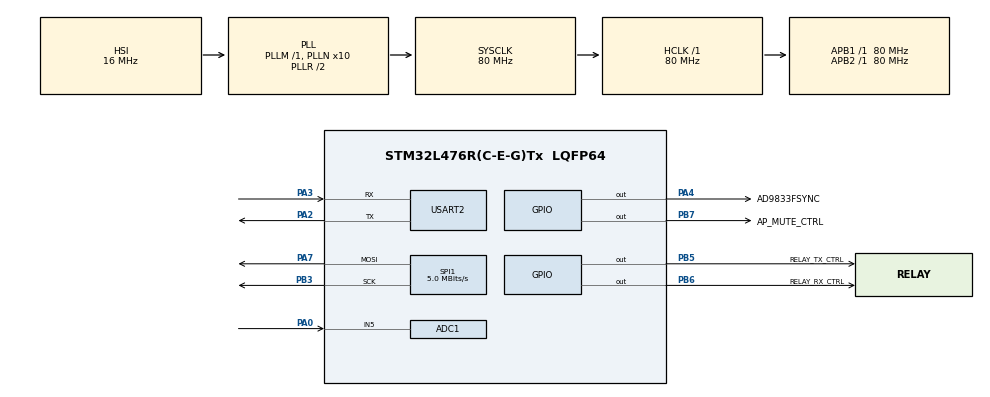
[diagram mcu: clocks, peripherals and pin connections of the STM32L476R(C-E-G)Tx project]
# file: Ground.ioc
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ADC1.Channel-1\#ChannelRegularConversion=ADC_CHANNEL_5
ADC1.DMAContinuousRequests=ENABLE
ADC1.ExternalTrigConv=ADC_EXTERNALTRIG_T2_TRGO
ADC1.NbrOfConversionFlag=1
ADC1.OffsetNumber-1\#ChannelRegularConversion=ADC_OFFSET_NONE
ADC1.Rank-1\#ChannelRegularConversion=1
ADC1.SamplingTime-1\#ChannelRegularConversion=ADC_SAMPLETIME_2CYCLES_5
ADC1.master=1
Dma.ADC1.0.Direction=DMA_PERIPH_TO_MEMORY
Dma.ADC1.0.Instance=DMA1_Channel1
Dma.ADC1.0.MemDataAlignment=DMA_MDATAALIGN_HALFWORD
Dma.ADC1.0.MemInc=DMA_MINC_ENABLE
Dma.ADC1.0.Mode=DMA_NORMAL
Dma.ADC1.0.PeriphDataAlignment=DMA_PDATAALIGN_HALFWORD
Dma.ADC1.0.PeriphInc=DMA_PINC_DISABLE
Dma.ADC1.0.Priority=DMA_PRIORITY_LOW
Dma.Request0=ADC1
Mcu.Family=STM32L4
Mcu.Name=STM32L476R(C-E-G)Tx
Mcu.Package=LQFP64
NVIC.DMA1_Channel1_IRQn=true\:0\:0\:false\:false\:true\:false\:true\:true
NVIC.PriorityGroup=NVIC_PRIORITYGROUP_4
NVIC.TIM3_IRQn=true\:0\:0\:false\:false\:true\:true\:true\:true
NVIC.USART2_IRQn=true\:0\:0\:false\:false\:true\:true\:true\:true
PA0.Signal=ADCx_IN5
PA13\ (JTMS-SWDIO).Mode=Serial_Wire
PA13\ (JTMS-SWDIO).Signal=SYS_JTMS-SWDIO
PA14\ (JTCK-SWCLK).Mode=Serial_Wire
PA14\ (JTCK-SWCLK).Signal=SYS_JTCK-SWCLK
PA2.Mode=Asynchronous
PA2.Signal=USART2_TX
PA3.Mode=Asynchronous
PA3.Signal=USART2_RX
PA4.GPIO_Label=AD9833FSYNC
PA4.GPIO_Speed=GPIO_SPEED_FREQ_HIGH
PA4.PinState=GPIO_PIN_SET
PA4.Signal=GPIO_Output
PA7.Mode=TX_Only_Simplex_Unidirect_Master
PA7.Signal=SPI1_MOSI
PB3\ (JTDO-TRACESWO).Mode=TX_Only_Simplex_Unidirect_Master
PB3\ (JTDO-TRACESWO).Signal=SPI1_SCK
PB5.GPIO_Label=RELAY_TX_CTRL
PB5.Signal=GPIO_Output
PB6.GPIO_Label=RELAY_RX_CTRL
PB6.Signal=GPIO_Output
PB7.GPIO_Label=AP_MUTE_CTRL
PB7.PinState=GPIO_PIN_SET
PB7.Signal=GPIO_Output
ProjectManager.HeapSize=0x2000
ProjectManager.StackSize=0x2000
ProjectManager.TargetToolchain=MDK-ARM V5.27
RCC.ADCFreq_Value=64000000
RCC.AHBFreq_Value=80000000
RCC.APB1Freq_Value=80000000
RCC.APB1TimFreq_Value=80000000
RCC.APB2Freq_Value=80000000
RCC.APB2TimFreq_Value=80000000
RCC.CortexFreq_Value=80000000
RCC.HCLKFreq_Value=80000000
RCC.HSE_VALUE=8000000
RCC.HSI_VALUE=16000000
RCC.LSE_VALUE=32768
RCC.MSI_VALUE=4000000
RCC.PLLN=10
RCC.PLLR=2
RCC.PLLSourceVirtual=RCC_PLLSOURCE_HSI
RCC.PREFETCH_ENABLE=1
RCC.SYSCLKFreq_VALUE=80000000
RCC.SYSCLKSource=RCC_SYSCLKSOURCE_PLLCLK
RCC.USBFreq_Value=64000000
RCC.VCOOutputFreq_Value=160000000
SH.ADCx_IN5.0=ADC1_IN5,IN5-Single-Ended
SPI1.BaudRatePrescaler=SPI_BAUDRATEPRESCALER_16
SPI1.CLKPolarity=SPI_POLARITY_HIGH
SPI1.CalculateBaudRate=5.0 MBits/s
SPI1.DataSize=SPI_DATASIZE_16BIT
SPI1.Direction=SPI_DIRECTION_2LINES
SPI1.Mode=SPI_MODE_MASTER
SPI1.VirtualType=VM_MASTER
STMicroelectronics.X-CUBE-AI.10.2.0.ActivationBufferSizeList=84116
STMicroelectronics.X-CUBE-AI.10.2.0.ActivationBuffers=pool0
STMicroelectronics.X-CUBE-AI.10.2.0.ActivationNames=pool0
STMicroelectronics.X-CUBE-AI.10.2.0.ActivationSizes=AI_NETWORK_1_DATA_ACTIVATION_1_SIZE
STMicroelectronics.X-CUBE-AI.10.2.0.HeapSize=0x2000
STMicroelectronics.X-CUBE-AI.10.2.0.InternalRamActivationBufferMaxSize=AI_NETWORK_1_DATA_ACTIVATIONS_SIZE
STMicroelectronics.X-CUBE-AI.10.2.0.LatestDirectoryUsed-c0d16df168d22022be63defcd9235e973b0978d8dd073e447b1b100edbf40b99=D\:\\python\\project\\7
STMicroelectronics.X-CUBE-AI.10.2.0.MaximumNumberOfInputLayer=1
STMicroelectronics.X-CUBE-AI.10.2.0.MaximumNumberOfOutputLayer=1
STMicroelectronics.X-CUBE-AI.10.2.0.MaximumSizeOfInputLayer=1
STMicroelectronics.X-CUBE-AI.10.2.0.MaximumSizeOfOutputLayer=1,1
STMicroelectronics.X-CUBE-AI.10.2.0.ModelActualCompression-c0d16df168d22022be63defcd9235e973b0978d8dd073e447b1b100edbf40b99=0.0
STMicroelectronics.X-CUBE-AI.10.2.0.ModelCompression-c0d16df168d22022be63defcd9235e973b0978d8dd073e447b1b100edbf40b99=High
STMicroelectronics.X-CUBE-AI.10.2.0.ModelFlashOccupation-c0d16df168d22022be63defcd9235e973b0978d8dd073e447b1b100edbf40b99=87096
STMicroelectronics.X-CUBE-AI.10.2.0.ModelHashList=c0d16df168d22022be63defcd9235e973b0978d8dd073e447b1b100edbf40b99
STMicroelectronics.X-CUBE-AI.10.2.0.ModelKind-c0d16df168d22022be63defcd9235e973b0978d8dd073e447b1b100edbf40b99=ONNX
STMicroelectronics.X-CUBE-AI.10.2.0.ModelMacc-c0d16df168d22022be63defcd9235e973b0978d8dd073e447b1b100edbf40b99=1577754
STMicroelectronics.X-CUBE-AI.10.2.0.ModelName-68c1fa1d3f161773a2b75655d76ecb105ef6672890e4a9a5a3e9edc10a31fa53=network
STMicroelectronics.X-CUBE-AI.10.2.0.ModelName-c0d16df168d22022be63defcd9235e973b0978d8dd073e447b1b100edbf40b99=network_1
STMicroelectronics.X-CUBE-AI.10.2.0.ModelNameList=network_1
STMicroelectronics.X-CUBE-AI.10.2.0.ModelRamOccupation-c0d16df168d22022be63defcd9235e973b0978d8dd073e447b1b100edbf40b99=84116
STMicroelectronics.X-CUBE-AI.10.2.0.ModelStructureFile-c0d16df168d22022be63defcd9235e973b0978d8dd073e447b1b100edbf40b99=D\:\\python\\project\\7\\clean_PerChannel_quant_v7_calib_input_only_npz_1.onnx
STMicroelectronics.X-CUBE-AI.10.2.0.ModelType-c0d16df168d22022be63defcd9235e973b0978d8dd073e447b1b100edbf40b99=STM32Cube.AI MCU runtime
STMicroelectronics.X-CUBE-AI.10.2.0.ReadyForCodeGeneration=true
STMicroelectronics.X-CUBE-AI.10.2.0.StackSize=0x2000
STMicroelectronics.X-CUBE-AI.10.2.0.ValidationInputFile-c0d16df168d22022be63defcd9235e973b0978d8dd073e447b1b100edbf40b99=D\:\\python\\project\\7\\v7_calib_input_only.npz
STMicroelectronics.X-CUBE-AI.10.2.0.ValidationInputFileHistory-c0d16df168d22022be63defcd9235e973b0978d8dd073e447b1b100edbf40b99=D\:\\python\\project\\7\\v7_calib_input_only.npz
STMicroelectronics.X-CUBE-AI.10.2.0.WorkingBufferStartAddrList=0xFFFFFFFF
STMicroelectronics.X-CUBE-AI.10.2.0.XAaCUBEAaAICcArtificialOoIntelligenceJjCore=true
STMicroelectronics.X-CUBE-AI.10.2.0.copyWeightToRam=false
STMicroelectronics.X-CUBE-AI.10.2.0.customLayerConfigEnabled=false
STMicroelectronics.X-CUBE-AI.10.2.0.noOnnxIoTranspose=false
STMicroelectronics.X-CUBE-AI.10.2.0.optimization=ram
STMicroelectronics.X-CUBE-AI.10.2.0.useInputAllocation=true
STMicroelectronics.X-CUBE-AI.10.2.0.useOutputAllocation=true
TIM2.AutoReloadPreload=TIM_AUTORELOAD_PRELOAD_ENABLE
TIM2.Period=832
TIM2.Prescaler=79
TIM2.TIM_MasterOutputTrigger=TIM_TRGO_UPDATE
TIM3.AutoReloadPreload=TIM_AUTORELOAD_PRELOAD_ENABLE
TIM3.Period=199
TIM3.Prescaler=7999
USART2.VirtualMode-Asynchronous=VM_ASYNC
VP_STMicroelectronics.X-CUBE-AI_VS_ArtificialOoIntelligenceJjXAaCUBEAaAI_10.2.0.Mode=ArtificialOoIntelligenceJjXAaCUBEAaAI
VP_TIM2_VS_ClockSourceINT.Mode=Internal
VP_TIM3_VS_ClockSourceINT.Mode=Internal
board=custom

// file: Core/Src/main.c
/* USER CODE BEGIN Header */
/**
  ******************************************************************************
  * @file           : main.c
  * @brief          : 井下通信系统 - 井上主控站 (Ground Node, V7 INT8)
  * @note           :
  * 1) AI 模型为 INT8 量化 TCN，输入 960 点，输出 boundary/frame 两路序列。
  * 2) 协议为 32bit：sync(8)+dest(4)+src(4)+payload(16)，同步头固定 0xB6。
  * 3) 载荷定义为 payload16=[temp8|pres8]；保留下行命令帧发送接口。
  ******************************************************************************
  */
/* USER CODE END Header */
#include "main.h"
#include "adc.h"
#include "dma.h"
#include "spi.h"
#include "tim.h"
#include "usart.h"
#include "gpio.h"

/* USER CODE BEGIN Includes */
#include <string.h>
#include <stdio.h>
#include <math.h>
// 仅允许使用 CMSIS-DSP，未启用时直接报错
#ifndef USE_CMSIS_DSP
  #error "CMSIS-DSP not enabled: please define USE_CMSIS_DSP=1 in project macros."
#endif
#ifndef ARM_MATH_CM4
#define ARM_MATH_CM4
#endif
#include "arm_math.h"
#include "ad9833.h"
#include "network_1.h"
#include "network_1_data.h"
#include "relay_control.h"
#include "test_sample_frame.h"
/* USER CODE END Includes */

/* USER CODE BEGIN PTD */
typedef enum {
    STATE_LISTENING,   // 监听态：等待井下回传
    STATE_INFERENCING, // 推理态：执行 AI 解调
    STATE_TRANSMITTING // 发送态：下发控制指令
} SystemState_t;
/* USER CODE END PTD */

/* USER CODE BEGIN PD */
// 井上节点主要是被动接收和主动下发，不需要自动循环定时器
/* USER CODE END PD */

/* USER CODE BEGIN PV */
SystemState_t current_state = STATE_LISTENING;

// 记录串口命令（主循环执行）
uint8_t pending_cmd = 0;
static uint8_t replay_once = 0;

// 核心控制实例化
volatile AI_Demod_Ctrl_t demodCtrl = {0};
volatile Modulate_Ctrl_t modCtrl = {0};

uint16_t adc_dma_buffer[FRAME_SAMPLES];
AI_ALIGNED(4) static ai_u8 activations[AI_NETWORK_1_DATA_ACTIVATIONS_SIZE];
static ai_handle network = AI_HANDLE_NULL;

// INT8 量化输入/输出缓冲区
int8_t ai_in_buffer[FRAME_SAMPLES];
int8_t ai_out_boundary[AI_NETWORK_1_OUT_1_SIZE];
int8_t ai_out_frame[AI_NETWORK_1_OUT_2_SIZE];
/* USER CODE END PV */

void SystemClock_Config(void);

/* USER CODE BEGIN 0 */

// ====================================================================
// AI 量化与后处理参数（必须与当前 X-CUBE-AI 生成模型严格一致）
// 说明：
// - AI_INPUT_SCALE / AI_INPUT_ZP 来自 network_1.c 的 input intq
// - AI_FRAME_ZP 来自 frame 输出张量 intq（用于 bit 判决阈值）
// - 这些参数更新后，Ground/Underground 需保持一致
// ====================================================================
#define AI_INPUT_SCALE        (0.04223548248410225f) // input scale
#define AI_INPUT_ZP           (3)                    // input zero-point
#define AI_NORM_EPS           (1.0e-5f)              // z-norm 防除零
#define AI_FRAME_ZP           (-14)                  // frame 输出零点（bit判决基准）
#define AI_STRIDE             (3)                    // 前端池化步长
#define AI_LATENT_SAMPLES     (256)                  // 32bit*24/3
#define AI_LATENT_SPB         (8)                    // 24/3
#define AI_BOUNDARY_TOP_K     (3)                    // 边界候选数
#define AI_BOUNDARY_AMBIGUOUS_THRESHOLD  (4)         // Top1/Top2 模糊阈值
#define INFER_TIMEOUT_MS      (300)                  // 推理超时保护
#define SYNC_MAX_ERR          (0)                    // 同步头最大允许错误位数
#define SYNC_SHIFT_RANGE      (8)                    // 起点细修搜索范围：[-4,+4]
#define AI_REPLAY_MODE        (1)                    // 0: 实采样  1: 回放测试

static float32_t adc_f32_buf[FRAME_SAMPLES];

// ====================================================================
// AI 帧输出判决函数（工业化稳健版）
// 说明：
// - 对每 bit 的 8 个 latent 采样点做加权积分，抑制单点噪声和相位抖动。
// - 判决阈值在量化域与 zero-point 对齐，避免浮点反量化开销。
// ====================================================================
static inline uint8_t DecodeFrameBitWeighted(const int8_t* frame, int base)
{
    // 权重窗口: [1,2,2,2,2,2,2,1]，总权重 14
    int32_t acc = 0;
    acc += 1 * frame[base + 0];
    acc += 2 * frame[base + 1];
    acc += 2 * frame[base + 2];
    acc += 2 * frame[base + 3];
    acc += 2 * frame[base + 4];
    acc += 2 * frame[base + 5];
    acc += 2 * frame[base + 6];
    acc += 1 * frame[base + 7];

    const int32_t th = 14 * (int32_t)AI_FRAME_ZP;
    return (acc > th) ? 1U : 0U;
}

// ====================================================================
// 串口打印重定向（用于上位机显示）
// ====================================================================
int fputc(int ch, FILE *f) {
    extern UART_HandleTypeDef huart2;
    HAL_UART_Transmit(&huart2, (uint8_t *)&ch, 1, HAL_MAX_DELAY);
    return ch;
}

/**
  * @brief  下行指令帧组包（地面端 -> 井下端）
  */
void BuildTxFrame(uint8_t destAddr, uint8_t srcAddr, uint32_t payloadData) {
    // 32bit 短帧：sync(8)=0xB6 | dest(4) | src(4) | payload(16)
    uint16_t payload16 = (uint16_t)(payloadData & 0xFFFF);
    modCtrl.txFrame = 0U;
    modCtrl.txFrame |= ((uint32_t)0xB6U << 24);
    modCtrl.txFrame |= (((uint32_t)destAddr & 0x0FU) << 20);
    modCtrl.txFrame |= (((uint32_t)srcAddr  & 0x0FU) << 16);
    modCtrl.txFrame |= (uint32_t)payload16;
}

// 下行指令触发接口（可在串口接收中断中调用）
void Send_Command_To_Underground(uint8_t cmd) {
    // 仅允许在监听态发命令，避免打断推理流程
    if (current_state != STATE_LISTENING) {
        return;
    }
    // 若当前仍在发送上一帧，则直接丢弃本次请求，避免重入
    if (modCtrl.isTransmitting) {
        return;
    }

    BuildTxFrame(ADDR_UNDERGROUND, LOCAL_ADDRESS, (uint32_t)cmd);

    // 打印组包结果：地址、命令、32bit帧内容（便于串口联调）
    printf("[TX] build frame: dest=0x%X src=0x%X cmd=0x%02X payload=0x%04X frame=0x%08lX\r\n",
           ADDR_UNDERGROUND, LOCAL_ADDRESS, cmd, (unsigned int)cmd, (unsigned long)modCtrl.txFrame);

    HAL_ADC_Stop_DMA(&hadc1);
    demodCtrl.adcReadyFlag = 0;
    RXrelayOff(); TXrelayOn(); APon(); HAL_Delay(15);
    modCtrl.txBitIndex = 0;
    modCtrl.isTransmitting = 1;
    HAL_TIM_Base_Start_IT(&htim3);
    current_state = STATE_TRANSMITTING;
    printf("[Current State] state=%d \r\n",
           current_state);
}
/* USER CODE END 0 */

int main(void)
{

  /* MCU Configuration--------------------------------------------------------*/

  /* Reset of all peripherals, Initializes the Flash interface and the Systick. */
  HAL_Init();

  /* Configure the system clock */
  SystemClock_Config();

  /* Initialize all configured peripherals */
  MX_GPIO_Init();
  MX_DMA_Init();
  MX_ADC1_Init();
  MX_TIM2_Init();
  MX_SPI1_Init();
  MX_TIM3_Init();
  MX_USART2_UART_Init();
  /* USER CODE BEGIN 2 */
  __disable_irq();

  AD9833_Init();
  AD9833_SetFreq(100, 0);
  AD9833_SetFreq(200, 1);
  AD9833_SelectFreq(0);

  // ======================= AI Runtime 初始化 =======================
  // 1) 创建网络实例
  // 2) 绑定权重区与激活区
  // 3) 初始化网络，失败则进入 Error_Handler
  ai_error ai_err = ai_network_1_create(&network, AI_NETWORK_1_DATA_CONFIG);
  if (ai_err.type != AI_ERROR_NONE) {
      printf("[AI] create failed: type=%d code=%d\r\n", ai_err.type, ai_err.code);
      Error_Handler();
  }

  const ai_network_params ai_params = {
      AI_NETWORK_1_DATA_WEIGHTS(ai_network_1_data_weights_get()),
      AI_NETWORK_1_DATA_ACTIVATIONS(activations)
  };

  if (!ai_network_1_init(network, &ai_params)) {
      ai_err = ai_network_1_get_error(network);
      printf("[AI] init failed: type=%d code=%d\r\n", ai_err.type, ai_err.code);
      Error_Handler();
  }

  // 上电后仅提示“模型已就绪”，避免出现含糊加载中提示
  printf("[AI] model ready. INT8 network initialized.\r\n");

#if !AI_REPLAY_MODE
  HAL_TIM_Base_Start(&htim2);
  HAL_ADC_Start_DMA(&hadc1, (uint32_t*)adc_dma_buffer, FRAME_SAMPLES);
#endif

  // 中断优先级：ADC/DMA 高于 TIM3 发送
  HAL_NVIC_SetPriority(DMA1_Channel1_IRQn, 0, 0);
  HAL_NVIC_SetPriority(TIM3_IRQn, 1, 0);

  __enable_irq();

  printf("Ground Node (Master) Initialized!\r\n");
  printf("[Current State] state=%d \r\n", current_state);

#if AI_REPLAY_MODE
  for (int i = 0; i < FRAME_SAMPLES && i < TEST_FRAME_INPUT_SAMPLES; i++) {
      adc_dma_buffer[i] = g_test_adc_frame[i];
  }

  demodCtrl.adcReadyFlag = 1;
  replay_once = 0;
  printf("[REPLAY] One-frame test loaded. SNR=%.1f dB, pad_pre=%d\r\n", (double)TEST_FRAME_SNR_DB, TEST_FRAME_PAD_PRE);
#endif

  // 启动串口单字节接收（命令索引：s1/s2/s3/s4/s5/s6）
  USART_StartReceive();
  /* USER CODE END 2 */

  /* Infinite loop */
  while (1)
  {

    /* USER CODE BEGIN 3 */

// 主循环巡逻：如果中断收到命令了，在这里安全地执行！
    if (pending_cmd != 0) {
       // printf("\r\n[Main] Safe to execute! Starting TX for command: 0x%X\r\n", pending_cmd);
        Send_Command_To_Underground(pending_cmd);
        pending_cmd = 0; // 执行完清空标志位
    }
    switch (current_state) {
        case STATE_LISTENING:
            APoff(); TXrelayOff(); RXrelayOn();

#if AI_REPLAY_MODE
            if (!replay_once && demodCtrl.adcReadyFlag == 1) {
                demodCtrl.inferStartTick = HAL_GetTick();
                current_state = STATE_INFERENCING;
                printf("[Current State] state=%d \r\n", current_state);
            }
#else
            if (demodCtrl.adcReadyFlag == 1) {
                demodCtrl.inferStartTick = HAL_GetTick();
                current_state = STATE_INFERENCING;
               // printf("[Current State] state=%d (INFERENCING)\r\n", current_state);
            }
#endif
            break;

        case STATE_INFERENCING:
        {
            // 推理超时保护：如果从 ADC 完成到推理完成超过一定时间（如 300ms），则强制重置回监听态，避免死锁
            if ((HAL_GetTick() - demodCtrl.inferStartTick) > INFER_TIMEOUT_MS) {
                HAL_ADC_Stop_DMA(&hadc1);
                HAL_ADC_Start_DMA(&hadc1, (uint32_t*)adc_dma_buffer, FRAME_SAMPLES);
                current_state = STATE_LISTENING;
                break;
            }

            if (demodCtrl.adcReadyFlag == 1) {
                demodCtrl.adcReadyFlag = 0;

                // 1) 输入准备（统一路径）：ADC -> z-norm -> int8 量化
                for (int i = 0; i < FRAME_SAMPLES; i++) {
                    adc_f32_buf[i] = (float32_t)adc_dma_buffer[i];
                }

                float32_t mean_f = 0.0f;
                float32_t std_f = 1.0f;

                arm_mean_f32(adc_f32_buf, FRAME_SAMPLES, &mean_f);
                arm_std_f32(adc_f32_buf, FRAME_SAMPLES, &std_f);

                // 防止极端静态输入导致除零；仅做一次下限保护，避免重复缩放
                if (std_f < AI_NORM_EPS) {
                    std_f = AI_NORM_EPS;
                }
                const float32_t inv_std = 1.0f / std_f;
                for (int i = 0; i < FRAME_SAMPLES; i++) {
                    float32_t norm = (adc_f32_buf[i] - mean_f) * inv_std;
                    float32_t fq = (float32_t)(norm / AI_INPUT_SCALE);
                    int32_t q = (int32_t)(fq + (fq >= 0.0f ? 0.5f : -0.5f)) + (int32_t)AI_INPUT_ZP;
                    if (q > 127) q = 127;
                    if (q < -128) q = -128;
                    ai_in_buffer[i] = (int8_t)q;
                }

                // 2) AI 推理
                ai_buffer *ai_input = ai_network_1_inputs_get(network, NULL);
                ai_input[0].data = AI_HANDLE_PTR(ai_in_buffer);
                ai_buffer *ai_output = ai_network_1_outputs_get(network, NULL);
                ai_output[0].data = AI_HANDLE_PTR(ai_out_boundary);
                ai_output[1].data = AI_HANDLE_PTR(ai_out_frame);

                // 运行 AI 推理并检查返回批次数；异常时直接回监听态，避免状态机卡死
                ai_i32 n_batch = ai_network_1_run(network, ai_input, ai_output);
                if (n_batch != 1) {
                    ai_error run_err = ai_network_1_get_error(network);
                    printf("[AI] run failed: batch=%ld type=%d code=%d\r\n",
                           (long)n_batch, run_err.type, run_err.code);

#if !AI_REPLAY_MODE
                    HAL_ADC_Stop_DMA(&hadc1);
                    HAL_ADC_Start_DMA(&hadc1, (uint32_t*)adc_dma_buffer, FRAME_SAMPLES);
#endif
                   // demodCtrl.syncMatched = 0;
                    current_state = STATE_LISTENING;
                    break;
                }

                // 3) boundary Top-3 候选（仅后处理，不增加推理次数）
                int best_idx = 0;
                int8_t best_val = ai_out_boundary[0];
                int second_idx = 0;
                int8_t second_val = (int8_t)-128;
                int third_idx = 0;
                int8_t third_val = (int8_t)-128;

                // 从第 1 个元素开始遍历，找到 Top-3 最大值及其索引
                for (int i = 1; i < AI_NETWORK_1_OUT_1_SIZE; i++) {
                    int8_t v = ai_out_boundary[i];
                    if (v > best_val) {
                        third_val = second_val; third_idx = second_idx;
                        second_val = best_val; second_idx = best_idx;
                        best_val = v; best_idx = i;
                    } else if (v > second_val) {
                        third_val = second_val; third_idx = second_idx;
                        second_val = v; second_idx = i;
                    } else if (v > third_val) {
                        third_val = v; third_idx = i;
                    }
                }
                // 根据 Top-3 与模糊阈值确定候选起始索引数量（1 或 3），并进行同步头匹配验证
                int candidate_idxs[AI_BOUNDARY_TOP_K] = {best_idx, second_idx, third_idx};
                int candidate_count = 1;
                if ((best_val - second_val) <= AI_BOUNDARY_AMBIGUOUS_THRESHOLD) {
                    candidate_count = AI_BOUNDARY_TOP_K;
                }
                const uint8_t syncRef8 = 0xB6U; // 同步头 10110110
                uint8_t head_ok = 0;
                uint8_t best_head_err = 8; // 记录当前最佳候选的同步头错误位数

                // 4) 边界后处理：Top-K 候选 + 局部移位细修 + 同步头汉明距离判定
                int best_start = 0;
                uint8_t has_candidate = 0;
                // 联合评分：优先最小同步头错误，其次最大地址匹配分
                int best_addr_score = -1;

                for (int c = 0; c < candidate_count; c++) {
                    int center = candidate_idxs[c];

                    for (int delta = -SYNC_SHIFT_RANGE; delta <= SYNC_SHIFT_RANGE; delta++) {
                        int start = center + delta;
                        if (start < 0) start = 0;
                        if (start > (AI_NETWORK_1_OUT_2_SIZE - AI_LATENT_SAMPLES)) {
                            start = (AI_NETWORK_1_OUT_2_SIZE - AI_LATENT_SAMPLES);
                        }

                        // 无数组实现：边解前16bit，边统计head_err并组装地址
                        uint8_t head_err = 0;
                        uint8_t cand_dest = 0;
                        uint8_t cand_src = 0;

                        for (int bit = 0; bit < 16; bit++) {
                            int base = start + bit * AI_LATENT_SPB;
                            uint8_t hb = DecodeFrameBitWeighted(ai_out_frame, base) & 0x01U;

                            if (bit < 8) {
                                uint8_t refb = (uint8_t)((syncRef8 >> (7 - bit)) & 0x01U);
                                if (hb != refb) head_err++;
                            } else if (bit < 12) {
                                cand_dest = (uint8_t)((cand_dest << 1) | hb);
                            } else {
                                cand_src = (uint8_t)((cand_src << 1) | hb);
                            }
                        }

                        int addr_score = 0;
                        if (cand_dest == LOCAL_ADDRESS)    addr_score += 2; // 目标地址命中权重更高
                        if (cand_src  == ADDR_UNDERGROUND) addr_score += 1;

                        // 联合选优：先比 head_err，再比 addr_score
                        if (!has_candidate ||
                            (head_err < best_head_err) ||
                            (head_err == best_head_err && addr_score > best_addr_score)) {
                            has_candidate = 1;
                            best_head_err = head_err;
                            best_addr_score = addr_score;
                            best_start = start;
                        }
                    }
                }

                // 最优候选满足同步头阈值则通过
                if (has_candidate && best_head_err <= SYNC_MAX_ERR) {
                    head_ok = 1;
                }

                // 对外状态标记：供调试/监控查看最近一次同步头判定结果
               // demodCtrl.syncMatched = head_ok ? 1U : 0U;

                // 仅当同步头通过时，才对最佳起点解完整 32bit 帧（打包为 uint32_t）
                if (head_ok) {
                    uint32_t rf = 0U;
                    for (int bit = 0; bit < FRAME_BITS; bit++) {
                        int base = best_start + bit * AI_LATENT_SPB;
                        rf = (rf << 1) | (uint32_t)(DecodeFrameBitWeighted(ai_out_frame, base) & 0x01U);
                    }
                    demodCtrl.rxFrame = rf;
                }

                // 5) 业务解析与输出：同步头通过（容错判定）则解析地址和载荷，否则丢弃
                if (head_ok) {
                    demodCtrl.destAddr = (uint8_t)((demodCtrl.rxFrame >> 20) & 0x0FU);
                    demodCtrl.srcAddr  = (uint8_t)((demodCtrl.rxFrame >> 16) & 0x0FU);
                    demodCtrl.payloadData = (uint32_t)(demodCtrl.rxFrame & 0xFFFFU);

                    // 地址匹配成功才作为有效接收；否则按地址错误丢帧
                    if (demodCtrl.destAddr == LOCAL_ADDRESS) {
                        uint8_t t_u8 = (uint8_t)((demodCtrl.payloadData >> 8) & 0xFFU);
                        uint8_t p_u8 = (uint8_t)(demodCtrl.payloadData & 0xFFU);

                        printf("[RX] Node:0x%X -> Ground | payloadData=0x%04lX | Temp: %u | Pres: %u\r\n",
                               demodCtrl.srcAddr,
                               (unsigned long)demodCtrl.payloadData,
                               (unsigned int)t_u8,
                               (unsigned int)p_u8);

#if AI_REPLAY_MODE
                        int bit_err = 0;
                        for (int i = 0; i < FRAME_BITS; i++) {
                            uint8_t b_hat = (uint8_t)((demodCtrl.rxFrame >> (31 - i)) & 0x01U);
                            if (b_hat != g_test_bits_32[i]) bit_err++;
                        }
                        printf("[REPLAY] dest=0x%X src=0x%X payload=0x%04lX | bit_err=%d/%d\r\n",
                               demodCtrl.destAddr, demodCtrl.srcAddr, (unsigned long)demodCtrl.payloadData, bit_err, FRAME_BITS);
#endif
                    } else {
                        //printf("[RX-ERR] frame dropped: address mismatch (dest=0x%X, local=0x%X)\r\n",
                        //       demodCtrl.destAddr, LOCAL_ADDRESS);
                    }
                } else {
                    //printf("[RX-ERR] frame dropped: sync header mismatch (head_err=%u, th=%u)\r\n",
                    //       best_head_err, (uint8_t)SYNC_MAX_ERR);
                }
            }

            // 单帧推理完成后回到监听态（除非切换为下发状态）
#if AI_REPLAY_MODE
            if (!replay_once) {
                replay_once = 1;
            }
            current_state = STATE_LISTENING;
            printf("[Current State] state=%d \r\n", current_state);
#else
            HAL_ADC_Stop_DMA(&hadc1);
            HAL_ADC_Start_DMA(&hadc1, (uint32_t*)adc_dma_buffer, FRAME_SAMPLES);
            current_state = STATE_LISTENING;
#endif
            break;
        }

        case STATE_TRANSMITTING:
            if (modCtrl.isTransmitting == 0) {
                APoff(); TXrelayOff(); HAL_Delay(5); RXrelayOn();

                HAL_ADC_Stop_DMA(&hadc1);
                HAL_ADC_Start_DMA(&hadc1, (uint32_t*)adc_dma_buffer, FRAME_SAMPLES);
                current_state = STATE_LISTENING;
                printf("[TX] Command sent successfully.\r\n");
                printf("[Current State] state=%d \r\n",
                       current_state
                       );
            }
            break;
    }

    // 关闭主循环 while(1)
  }

  /* USER CODE END 3 */
}

void SystemClock_Config(void)
{
  RCC_OscInitTypeDef RCC_OscInitStruct = {0};
  RCC_ClkInitTypeDef RCC_ClkInitStruct = {0};

  /** Configure the main internal regulator output voltage
  */
  if (HAL_PWREx_ControlVoltageScaling(PWR_REGULATOR_VOLTAGE_SCALE1) != HAL_OK)
  {
    Error_Handler();
  }

  /** Initializes the RCC Oscillators according to the specified parameters
  * in the RCC_OscInitTypeDef structure.
  */
  RCC_OscInitStruct.OscillatorType = RCC_OSCILLATORTYPE_HSI;
  RCC_OscInitStruct.HSIState = RCC_HSI_ON;
  RCC_OscInitStruct.HSICalibrationValue = RCC_HSICALIBRATION_DEFAULT;
  RCC_OscInitStruct.PLL.PLLState = RCC_PLL_ON;
  RCC_OscInitStruct.PLL.PLLSource = RCC_PLLSOURCE_HSI;
  RCC_OscInitStruct.PLL.PLLM = 1;
  RCC_OscInitStruct.PLL.PLLN = 10;
  RCC_OscInitStruct.PLL.PLLP = RCC_PLLP_DIV7;
  RCC_OscInitStruct.PLL.PLLQ = RCC_PLLQ_DIV2;
  RCC_OscInitStruct.PLL.PLLR = 2;
  if (HAL_RCC_OscConfig(&RCC_OscInitStruct) != HAL_OK)
  {
    Error_Handler();
  }

  /** Initializes the CPU, AHB and APB buses clocks
  */
  RCC_ClkInitStruct.ClockType = RCC_CLOCKTYPE_HCLK|RCC_CLOCKTYPE_SYSCLK
                              |RCC_CLOCKTYPE_PCLK1|RCC_CLOCKTYPE_PCLK2;
  RCC_ClkInitStruct.SYSCLKSource = RCC_SYSCLKSOURCE_PLLCLK;
  RCC_ClkInitStruct.AHBCLKDivider = RCC_SYSCLK_DIV1;
  RCC_ClkInitStruct.APB1CLKDivider = RCC_HCLK_DIV1;
  RCC_ClkInitStruct.APB2CLKDivider = RCC_HCLK_DIV1;

  if (HAL_RCC_ClockConfig(&RCC_ClkInitStruct, FLASH_LATENCY_4) != HAL_OK)
  {
    Error_Handler();
  }
}

/* USER CODE BEGIN 4 */
void HAL_ADC_ConvCpltCallback(ADC_HandleTypeDef* hadc) {
    if (hadc->Instance == ADC1 && current_state == STATE_LISTENING) {
        demodCtrl.adcReadyFlag = 1;
    }
}

void HAL_TIM_PeriodElapsedCallback(TIM_HandleTypeDef *htim) {
    if (htim->Instance == TIM3) {
        if (modCtrl.isTransmitting && modCtrl.txBitIndex >= 0 && modCtrl.txBitIndex < (FRAME_BITS + TAIL_BITS)) {

            if (modCtrl.txBitIndex < FRAME_BITS) {
                uint8_t bit = (uint8_t)((modCtrl.txFrame >> (31 - modCtrl.txBitIndex)) & 0x01U);
                if (bit == 1U) {
                    AD9833_SelectFreq(1);
                } else {
                    AD9833_SelectFreq(0);
                }
            }
            else {
                AD9833_SelectFreq(0);
            }

            modCtrl.txBitIndex++;
            if (modCtrl.txBitIndex >= (FRAME_BITS + TAIL_BITS)) {
                modCtrl.txBitIndex = -1; modCtrl.isTransmitting = 0;
                HAL_TIM_Base_Stop_IT(&htim3);
            }
        }
    }
}
/* USER CODE END 4 */

void Error_Handler(void)
{
  __disable_irq();
  while (1)
  {
  }
}
